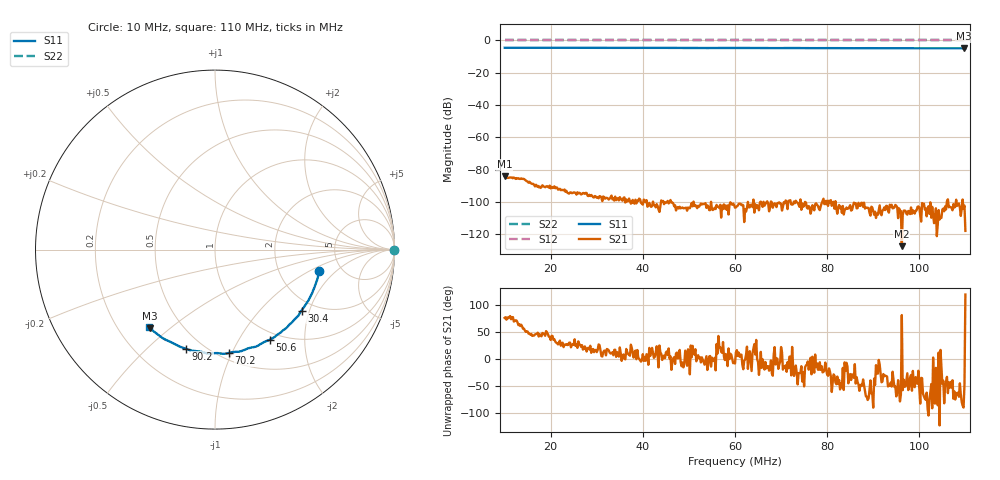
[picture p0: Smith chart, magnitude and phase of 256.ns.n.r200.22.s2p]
! Anritsu VNA Master:  Model: MS2036C/10/77
! SN:  1601066
! /card0/usr/256.ns.n.r200.22.s2p
! Existing Calibration Information:
! TYPE:  Current Settings,  Active Cal Settings
! TIME:  12/19/2017 04:20:10 PM,  12/19/2017 03:58:02 PM
! INTERNAL TEMP:  46.3 C,  47.0 C
! # POINTS:  501,  501
! START FREQ:  10.000 MHz,  10.000 MHz
! STOP FREQ:  110.000 MHz,  110.000 MHz
! SOURCE POWER:  High,  High
! IFBW:  100 Hz,  100 Hz
! AVG FACTOR:  1 ,  1
! REF PLANE 1:  0 mm,  0 mm
! REF PLANE 2:  0 mm,  0 mm
! CAL TYPE:  Full S11,  Full S11
! CAL METHOD:  SOLT,  SOLT
! CAL LINE TYPE:  Coax,  Coax
! DUT PORT 1:  N-Conn(F),  N-Conn(F)
! DUT PORT 2:  K-Conn(F),  K-Conn(F)
! CAL STATUS:  OK: Accuracy High,  --
# GHZ S DB R 50.0
! FREQ.GHZ  S11DB  S11A  S21DB  S21A  S12DB  S12A  S22DB  S22A
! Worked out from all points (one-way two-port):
!   501 points, 10 MHz to 110 MHz, reference 50 ohm
!   highest |S21| = -84.18 dB at 10 MHz (marker M1); lowest = -127.4 dB at 96.2 MHz (marker M2)
!   lowest |S11| = -4.9 dB at 109.6 MHz (marker M3), VSWR 3.63, Z = 16.5 - j21.3 ohm
!   |S11| at or under -10 dB: nowhere
!   |S22| runs from 0.0 to 0.0 dB; largest |S21 - S12| = 1
!   S11 on the Smith chart (normalised r, x): 10 MHz: 3.43, -1.25; 30.4 MHz: 1.70, -1.77; 50.6 MHz: 0.90, -1.37; 70.2 MHz: 0.56, -0.97; 90.2 MHz: 0.40, -0.67; 110 MHz: 0.33, -0.42
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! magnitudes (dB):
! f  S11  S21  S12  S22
! 10 MHz  -4.5  -84.2  0.0  0.0
! 26.8 MHz  -4.6  -95.0  0.0  0.0
! 30.4 MHz  -4.6  -97.7  0.0  0.0
! 33 MHz  -4.5  -97.1  0.0  0.0
! 43.4 MHz  -4.6  -104.6  0.0  0.0
! 50.6 MHz  -4.6  -100.6  0.0  0.0
! 53.2 MHz  -4.7  -101.3  0.0  0.0
! 57.6 MHz  -4.6  -101.5  0.0  0.0
! 60 MHz  -4.7  -103.6  0.0  0.0
! 65.4 MHz  -4.7  -100.3  0.0  0.0
! 68.6 MHz  -4.7  -100.9  0.0  0.0
! 70.2 MHz  -4.7  -105.3  0.0  0.0
! 72.8 MHz  -4.7  -99.7  0.0  0.0
! 76.8 MHz  -4.8  -102.0  0.0  0.0
! 80 MHz  -4.7  -99.2  0.0  0.0
! 83.4 MHz  -4.8  -102.5  0.0  0.0
! 90.2 MHz  -4.8  -107.9  0.0  0.0
! 93.4 MHz  -4.8  -106.6  0.0  0.0
! 96.2 MHz  -4.8  -127.4  0.0  0.0
! 101.8 MHz  -4.8  -103.8  0.0  0.0
! 109.6 MHz  -4.9  -104.2  0.0  0.0
! 110 MHz  -4.9  -117.9  0.0  0.0
